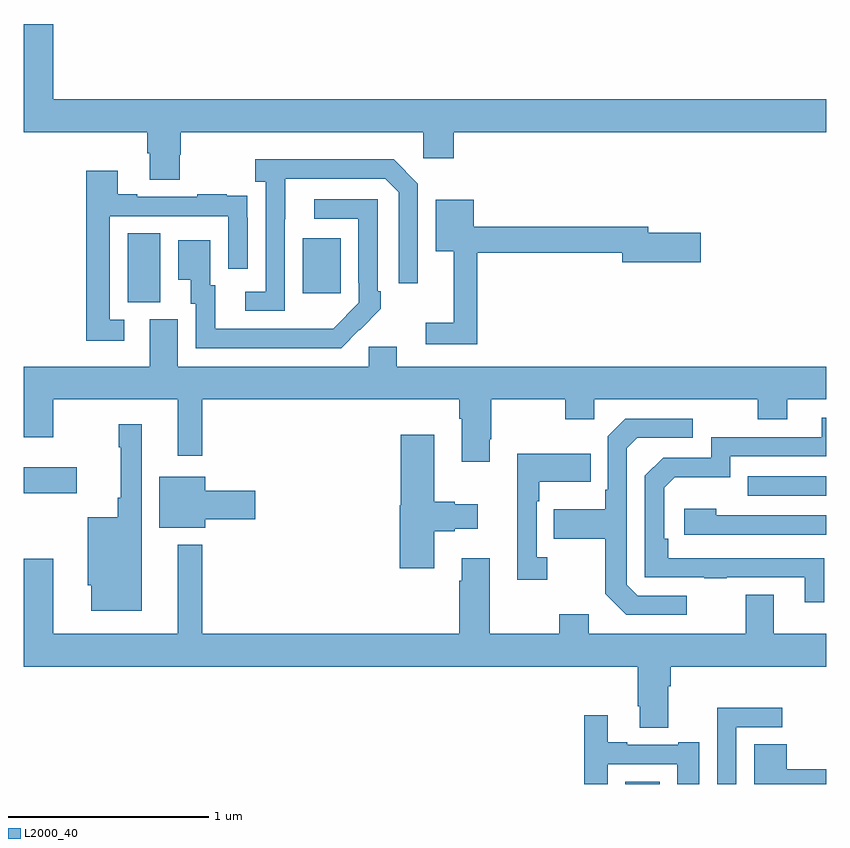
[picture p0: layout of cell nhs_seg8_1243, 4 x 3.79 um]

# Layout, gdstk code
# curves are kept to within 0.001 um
import gdstk
lib = gdstk.Library(unit=1e-6, precision=1e-09)
def R(c, l, rs):  # rectangles x0, y0, x1, y1
    for r in rs: c.add(gdstk.rectangle(r[:2], r[2:], *l))
def P(c, l, *ps):  # polygons
    for p in ps: c.add(gdstk.Polygon(p, *l))
L2000_40 = (2000, 40)

nhs_seg8_1243 = lib.new_cell('nhs_seg8_1243')
R(nhs_seg8_1243, L2000_40, [(191.999,1131.9,192.169,1131.91), (192.607,1133.337,193,1133.433), (189,1133.35,189.265,1133.479), (189.518,1134.301,189.682,1134.644), (190.391,1134.345,190.579,1134.619)])
P(nhs_seg8_1243, L2000_40, [(189.777,1135.035),(189.782,1135.035),(189.782,1135.148),(190.992,1135.148),(190.992,1135.017),(191.144,1135.017),(191.144,1135.148),(193,1135.148),(193,1135.312),(189.148,1135.312),(189.148,1135.687),(189,1135.687),(189,1135.148),(189.617,1135.148),(189.617,1135.042),(189.629,1135.042),(189.629,1134.91),(189.777,1134.91)],
  [(190.302,1134.715),(190.303,1134.915),(190.803,1134.915),(190.869,1134.849),(190.869,1134.396),(190.965,1134.396),(190.965,1134.891),(190.844,1135.012),(190.155,1135.012),(190.155,1134.902),(190.206,1134.902),(190.206,1134.354),(190.104,1134.354),(190.104,1134.258),(190.302,1134.258)],
  [(189.502,1134.213),(189.429,1134.213),(189.429,1134.729),(190.02,1134.729),(190.02,1134.468),(190.116,1134.468),(190.116,1134.722),(190.115,1134.722),(190.115,1134.831),(190.013,1134.831),(190.013,1134.838),(189.865,1134.838),(189.865,1134.825),(189.565,1134.825),(189.565,1134.838),(189.469,1134.838),(189.469,1134.955),(189.313,1134.955),(189.313,1134.108),(189.502,1134.108)],
  [(190.673,1134.163),(190.674,1134.162),(190.779,1134.267),(190.779,1134.355),(190.764,1134.355),(190.764,1134.813),(190.449,1134.813),(190.449,1134.717),(190.668,1134.717),(190.668,1134.397),(190.671,1134.397),(190.671,1134.297),(190.543,1134.169),(189.955,1134.168),(189.955,1134.384),(189.931,1134.384),(189.931,1134.61),(189.77,1134.61),(189.77,1134.413),(189.833,1134.413),(189.833,1134.294),(189.858,1134.294),(189.858,1134.072),(190.582,1134.072)],
  [(191.261,1134.547),(191.984,1134.547),(191.984,1134.5),(192.373,1134.5),(192.373,1134.647),(192.112,1134.647),(192.112,1134.676),(191.242,1134.676),(191.242,1134.811),(191.054,1134.811),(191.054,1134.554),(191.144,1134.554),(191.144,1134.199),(191.004,1134.199),(191.004,1134.09),(191.261,1134.09)],
  [(191.323,1133.617),(191.331,1133.617),(191.331,1133.816),(191.698,1133.816),(191.698,1133.717),(191.844,1133.717),(191.844,1133.816),(192.658,1133.816),(192.658,1133.717),(192.805,1133.717),(192.805,1133.816),(193,1133.816),(193,1133.98),(190.858,1133.98),(190.858,1134.078),(190.719,1134.078),(190.719,1133.98),(189.769,1133.98),(189.769,1134.216),(189.629,1134.216),(189.629,1133.98),(189,1133.98),(189,1133.628),(189.148,1133.628),(189.148,1133.816),(189.767,1133.816),(189.767,1133.535),(189.889,1133.535),(189.889,1133.816),(191.171,1133.816),(191.171,1133.72),(191.183,1133.72),(191.183,1133.505),(191.323,1133.505)],
  [(192.989,1133.024),(192.212,1133.025),(192.212,1133.122),(192.192,1133.122),(192.192,1133.376),(192.245,1133.429),(192.522,1133.429),(192.522,1133.532),(193,1133.532),(193,1133.724),(192.977,1133.724),(192.977,1133.628),(192.426,1133.628),(192.426,1133.526),(192.186,1133.526),(192.096,1133.436),(192.096,1132.929),(192.391,1132.929),(192.391,1132.924),(192.503,1132.924),(192.503,1132.929),(192.893,1132.929),(192.893,1132.806),(192.989,1132.806)],
  [(192.304,1132.839),(192.06,1132.839),(192.006,1132.893),(192.006,1133.574),(192.057,1133.625),(192.334,1133.625),(192.334,1133.721),(191.997,1133.721),(191.91,1133.634),(191.91,1133.365),(191.898,1133.365),(191.898,1133.269),(191.641,1133.269),(191.641,1133.122),(191.898,1133.122),(191.898,1132.849),(192.003,1132.743),(192.304,1132.743)],
  [(189.589,1133.692),(189.475,1133.692),(189.475,1133.579),(189.485,1133.579),(189.485,1133.326),(189.468,1133.326),(189.468,1133.23),(189.32,1133.23),(189.32,1132.89),(189.338,1132.89),(189.338,1132.763),(189.589,1132.763)],
  [(191.047,1133.159),(191.147,1133.159),(191.147,1133.171),(191.263,1133.171),(191.263,1133.293),(191.147,1133.293),(191.147,1133.306),(191.047,1133.306),(191.047,1133.641),(190.88,1133.641),(190.88,1133.289),(190.874,1133.289),(190.874,1132.974),(191.047,1132.974)],
  [(191.608,1133.03),(191.556,1133.03),(191.556,1133.309),(191.569,1133.309),(191.569,1133.405),(191.825,1133.405),(191.825,1133.545),(191.459,1133.545),(191.459,1132.917),(191.608,1132.917)],
  [(189.904,1133.219),(190.153,1133.219),(190.153,1133.361),(189.904,1133.361),(189.904,1133.431),(189.677,1133.431),(189.677,1133.177),(189.904,1133.177)],
  [(193,1133.238),(192.452,1133.238),(192.452,1133.272),(192.291,1133.272),(192.291,1133.142),(193,1133.142)],
  [(192.211,1132.388),(192.224,1132.388),(192.224,1132.484),(193,1132.484),(193,1132.648),(192.739,1132.648),(192.739,1132.843),(192.599,1132.843),(192.599,1132.648),(191.815,1132.648),(191.815,1132.747),(191.668,1132.747),(191.668,1132.648),(191.323,1132.648),(191.323,1133.026),(191.183,1133.026),(191.183,1132.913),(191.171,1132.913),(191.171,1132.648),(189.889,1132.648),(189.889,1133.092),(189.767,1133.092),(189.767,1132.648),(189.148,1132.648),(189.148,1133.023),(189,1133.023),(189,1132.484),(192.059,1132.484),(192.059,1132.288),(192.071,1132.288),(192.071,1132.18),(192.211,1132.18)],
  [(192.552,1132.182),(192.781,1132.182),(192.781,1132.28),(192.456,1132.28),(192.456,1131.9),(192.552,1131.9)],
  [(191.91,1131.999),(192.257,1131.999),(192.257,1131.9),(192.367,1131.9),(192.367,1132.108),(192.263,1132.108),(192.263,1132.095),(192.007,1132.095),(192.007,1132.108),(191.911,1132.108),(191.911,1132.243),(191.794,1132.243),(191.794,1131.9),(191.91,1131.9)],
  [(193,1131.974),(192.803,1131.974),(192.803,1132.097),(192.641,1132.097),(192.641,1131.9),(193,1131.9)])

lib.write_gds('nhs_seg8_1243.gds')
